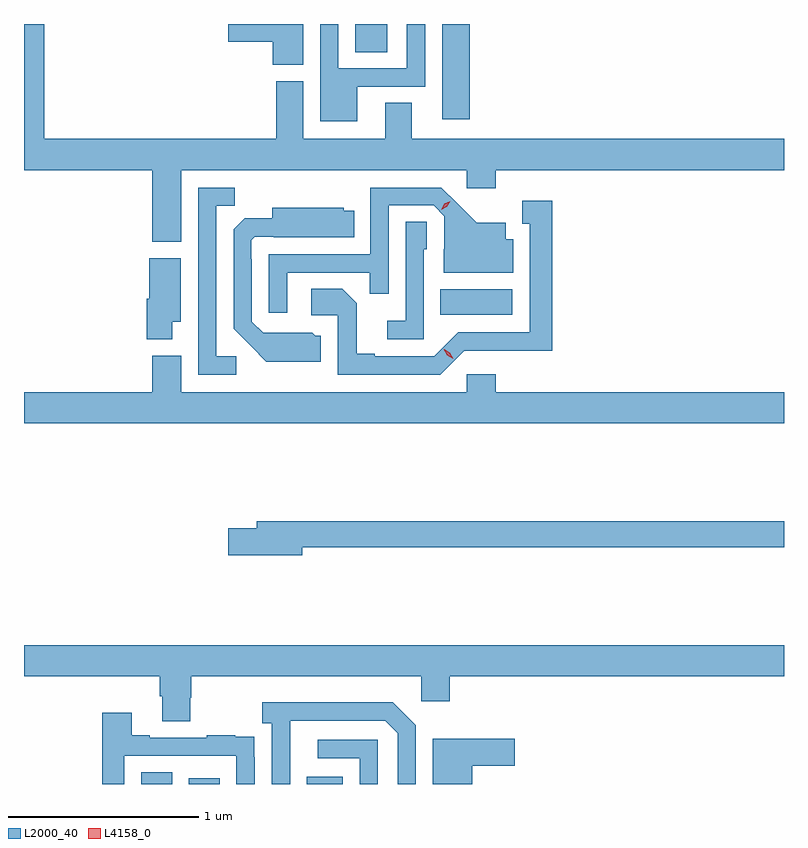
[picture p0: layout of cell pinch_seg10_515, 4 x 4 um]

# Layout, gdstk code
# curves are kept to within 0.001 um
import gdstk
lib = gdstk.Library(unit=1e-6, precision=1e-09)
def R(c, l, rs):  # rectangles x0, y0, x1, y1
    for r in rs: c.add(gdstk.rectangle(r[:2], r[2:], *l))
def P(c, l, *ps):  # polygons
    for p in ps: c.add(gdstk.Polygon(p, *l))
L2000_40 = (2000, 40)
L4158_0 = (4158, 0)

pinch_seg10_515 = lib.new_cell('pinch_seg10_515')
R(pinch_seg10_515, L2000_40, [(371.336,1275.773,371.5,1275.836), (371.588,1275.773,371.749,1275.802), (372.209,1275.773,372.397,1275.811), (372.91,1278.242,373.291,1278.376), (372.92,1279.272,373.067,1279.773), (372.464,1279.624,372.631,1279.773)])
P(pinch_seg10_515, L2000_40, [(372.19,1279.773),(371.796,1279.773),(371.796,1279.679),(372.029,1279.679),(372.029,1279.558),(372.19,1279.558)],
  [(371.548,1279.004),(373.05,1279.004),(373.05,1278.909),(373.202,1278.909),(373.202,1279.004),(374.72,1279.004),(374.72,1279.168),(372.76,1279.168),(372.76,1279.358),(372.62,1279.358),(372.62,1279.168),(372.19,1279.168),(372.19,1279.473),(372.047,1279.473),(372.047,1279.168),(370.826,1279.168),(370.826,1279.773),(370.72,1279.773),(370.72,1279.004),(371.396,1279.004),(371.396,1278.626),(371.548,1278.626)],
  [(372.475,1279.443),(372.831,1279.443),(372.831,1279.773),(372.735,1279.773),(372.735,1279.539),(372.375,1279.539),(372.375,1279.773),(372.279,1279.773),(372.279,1279.262),(372.475,1279.262)],
  [(371.836,1278.024),(371.733,1278.024),(371.733,1278.817),(371.829,1278.817),(371.829,1278.912),(371.637,1278.912),(371.637,1277.928),(371.836,1277.928)],
  [(372.105,1278.465),(372.541,1278.465),(372.541,1278.352),(372.639,1278.352),(372.639,1278.819),(372.876,1278.819),(372.933,1278.762),(372.933,1278.588),(372.929,1278.588),(372.929,1278.464),(373.294,1278.464),(373.294,1278.64),(373.255,1278.64),(373.255,1278.727),(373.103,1278.727),(372.916,1278.912),(372.543,1278.912),(372.543,1278.561),(372.009,1278.561),(372.009,1278.252),(372.105,1278.252)],
  [(373.038,1278.054),(373.501,1278.053),(373.501,1278.844),(373.343,1278.844),(373.343,1278.723),(373.382,1278.723),(373.382,1278.15),(373.005,1278.15),(372.879,1278.024),(372.565,1278.024),(372.565,1278.037),(372.471,1278.037),(372.471,1278.304),(372.395,1278.38),(372.231,1278.38),(372.231,1278.24),(372.372,1278.24),(372.372,1277.928),(372.912,1277.928)],
  [(372.283,1278.132),(372.252,1278.132),(372.236,1278.148),(371.979,1278.147),(371.919,1278.207),(371.919,1278.536),(371.916,1278.536),(371.916,1278.636),(371.934,1278.654),(372.034,1278.654),(372.034,1278.65),(372.458,1278.65),(372.458,1278.79),(372.402,1278.79),(372.402,1278.805),(372.026,1278.805),(372.026,1278.751),(371.882,1278.751),(371.823,1278.692),(371.823,1278.17),(371.995,1277.996),(372.283,1277.996)],
  [(372.825,1278.588),(372.84,1278.588),(372.84,1278.731),(372.729,1278.731),(372.729,1278.211),(372.633,1278.211),(372.633,1278.114),(372.825,1278.114)],
  [(371.5,1278.206),(371.545,1278.206),(371.545,1278.541),(371.378,1278.541),(371.378,1278.327),(371.366,1278.327),(371.366,1278.113),(371.5,1278.113)],
  [(374.72,1277.836),(373.202,1277.836),(373.202,1277.929),(373.05,1277.929),(373.05,1277.836),(371.548,1277.836),(371.548,1278.028),(371.396,1278.028),(371.396,1277.836),(370.72,1277.836),(370.72,1277.672),(374.72,1277.672)],
  [(372.184,1277.02),(374.72,1277.02),(374.72,1277.156),(371.945,1277.156),(371.945,1277.12),(371.796,1277.12),(371.796,1276.978),(372.184,1276.978)],
  [(371.595,1276.227),(371.6,1276.227),(371.6,1276.34),(372.81,1276.34),(372.81,1276.209),(372.962,1276.209),(372.962,1276.34),(374.72,1276.34),(374.72,1276.504),(370.72,1276.504),(370.72,1276.34),(371.435,1276.34),(371.435,1276.234),(371.447,1276.234),(371.447,1276.102),(371.595,1276.102)],
  [(372.12,1275.907),(372.121,1276.107),(372.621,1276.107),(372.687,1276.041),(372.687,1275.773),(372.783,1275.773),(372.783,1276.083),(372.662,1276.204),(371.973,1276.204),(371.973,1276.094),(372.024,1276.094),(372.024,1275.773),(372.12,1275.773)],
  [(371.247,1275.921),(371.838,1275.921),(371.838,1275.773),(371.934,1275.773),(371.934,1275.914),(371.933,1275.914),(371.933,1276.023),(371.831,1276.023),(371.831,1276.03),(371.683,1276.03),(371.683,1276.017),(371.383,1276.017),(371.383,1276.03),(371.287,1276.03),(371.287,1276.147),(371.131,1276.147),(371.131,1275.773),(371.247,1275.773)],
  [(373.079,1275.869),(373.303,1275.869),(373.303,1276.011),(372.872,1276.011),(372.872,1275.773),(373.079,1275.773)],
  [(372.582,1276.005),(372.267,1276.005),(372.267,1275.909),(372.486,1275.909),(372.486,1275.773),(372.582,1275.773)])
P(pinch_seg10_515, L4158_0, [(372.98,1278.01),(372.948,1278.029),(372.93,1278.062),(372.93,1278.062),(372.931,1278.062),(372.962,1278.043),(372.98,1278.01),(372.98,1278.01)],
  [(372.915,1278.796),(372.915,1278.796),(372.933,1278.826),(372.963,1278.841),(372.964,1278.841),(372.964,1278.841),(372.946,1278.811),(372.916,1278.796)])

lib.write_gds('pinch_seg10_515.gds')
